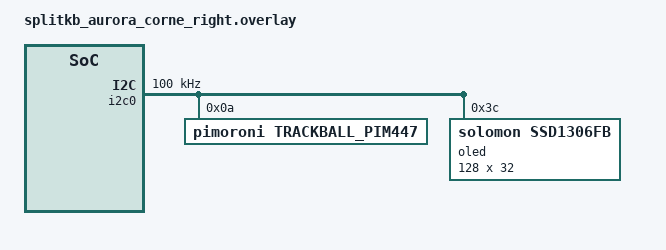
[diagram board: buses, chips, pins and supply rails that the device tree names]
/*
 * Copyright (c) 2022 The ZMK Contributors
 *
 * SPDX-License-Identifier: MIT
 */

#include <dt-bindings/zmk/matrix_transform.h>
#include <dt-bindings/zmk/input_transform.h>
#include <dt-bindings/zmk/trackball_pim447.h>

/ {
    chosen {
        zmk,pointing-device = &trackball_pim447;
        zmk,display = &oled;
    };

    /* Add input listener for the trackball */
    trackball_listener {
        compatible = "zmk,input-listener";
        device = <&trackball_pim447>;
    };
    
    /* Add input split device for sending trackball data to left half */
    right_input_split_device {
        compatible = "zmk,input-split-device";
    };
};

&i2c0 {
    status = "okay";
    clock-frequency = <I2C_BITRATE_STANDARD>;
    
    trackball_pim447: trackball@0x0A {
        compatible = "pimoroni,trackball_pim447";
        reg = <0x0A>;
        status = "okay";

        /* Default parameters - can adjust these based on preference */
        sensitivity = <64>;     /* Range: 1-255, higher = more sensitive */
        move-factor = <2>;      /* Range: 1-10, scales cursor movement speed */
        scroll-factor = <1>;    /* Range: 1-10, scales scrolling speed */
        
        /* LED color */
        led-red = <0>;
        led-green = <255>;
        led-blue = <0>;
        
        /* Axis inversion */
        invert-x;               /* Invert X axis movement */
        /* invert-y; */         /* Uncomment to invert Y axis movement */
    };

    oled: ssd1306@3c {
        compatible = "solomon,ssd1306fb";
        reg = <0x3c>;
        width = <128>;
        height = <32>;
        segment-offset = <0>;
        page-offset = <0>;
        display-offset = <0>;
        multiplex-ratio = <31>;
        com-sequential;
        prechargep = <0x22>;
        status = "okay";
    };
};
